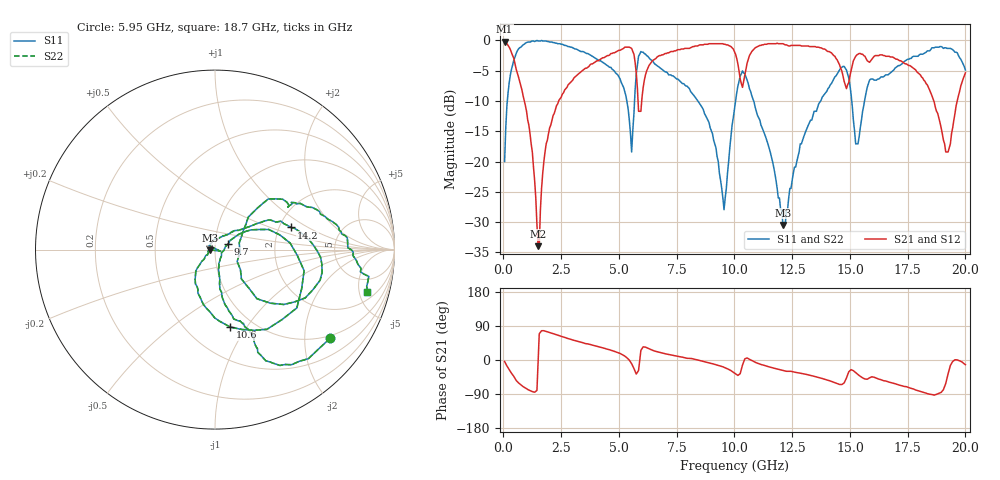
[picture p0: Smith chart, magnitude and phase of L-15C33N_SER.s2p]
# MHZ S MA R 50
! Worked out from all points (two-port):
!   400 points, 50 MHz to 20 GHz, reference 50 ohm
!   highest |S21| = -0.18 dB at 50 MHz (marker M1); lowest = -34.0 dB at 1.5 GHz (marker M2)
!   |S21| within 3 dB of the highest: 6.519 GHz to 10.11 GHz (3.592 GHz wide, 43.2 % of centre); 10.59 GHz to 14.44 GHz (3.846 GHz wide, 30.7 % of centre) (the widest 2 of 6)
!   lowest |S11| = -30.5 dB at 12.1 GHz (marker M3), VSWR 1.06, Z = 47.1 - j0.32 ohm
!   |S11| at or under -10 dB: 8.419 GHz to 10.05 GHz (1.628 GHz wide, 17.6 % of centre); 10.83 GHz to 13.73 GHz (2.897 GHz wide, 23.6 % of centre); 15.08 GHz to 15.63 GHz (553.5 MHz wide, 3.6 % of centre) (the widest 3 of 5)
!   |S22| runs from -30.5 to 0.0 dB; largest |S21 - S12| = 0
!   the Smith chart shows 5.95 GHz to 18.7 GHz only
!   S11 on the Smith chart (normalised r, x): 5.95 GHz: 0.92, -2.65; 9.7 GHz: 1.16, +0.07; 10.6 GHz: 0.79, -0.84; 14.2 GHz: 2.31, +0.71; 18.7 GHz: 2.88, -6.00
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50  0.1 78.2  0.98 -4.0  0.98 -4.0  0.1 78.2
450  0.69 43.1  0.71 -43.4  0.71 -43.4  0.69 43.1
1150  0.97 7.0  0.17 -80.9  0.17 -80.9  0.97 7.0
1500  0.99 -3.7  0.02 -5.5  0.02 -5.5  0.99 -3.7
2000  0.97 -16.7  0.19 72.6  0.19 72.6  0.97 -16.7
3400  0.81 -45.0  0.56 46.1  0.56 46.1  0.81 -45.0
5050  0.48 -82.6  0.83 17.2  0.83 17.2  0.48 -82.6
5550  0.12 -51.8  0.86 -9.8  0.86 -9.8  0.12 -51.8
5950  0.81 -37.6  0.26 25.5  0.26 25.5  0.81 -37.6
6700  0.61 -67.1  0.74 21.0  0.74 21.0  0.61 -67.1
9700  0.08 23.5  0.92 -23.2  0.92 -23.2  0.08 23.5
10050  0.32 20.5  0.77 -36.5  0.77 -36.5  0.32 20.5
10600  0.44 -78.8  0.7 3.6  0.7 3.6  0.44 -78.8
12100  0.03 -173.5  0.94 -27.6  0.94 -27.6  0.03 -173.5
13350  0.22 34.3  0.89 -41.4  0.89 -41.4  0.22 34.3
14200  0.44 16.3  0.79 -56.5  0.79 -56.5  0.44 16.3
14850  0.57 -28.2  0.4 -47.6  0.4 -47.6  0.57 -28.2
15350  0.14 15.4  0.77 -38.7  0.77 -38.7  0.14 15.4
16700  0.53 28.9  0.74 -58.4  0.74 -58.4  0.53 28.9
18700  0.88 -15.5  0.28 -91.6  0.28 -91.6  0.88 -15.5
19250  0.86 -35.0  0.12 -36.6  0.12 -36.6  0.86 -35.0
20000  0.57 -62.8  0.54 -12.3  0.54 -12.3  0.57 -62.8
